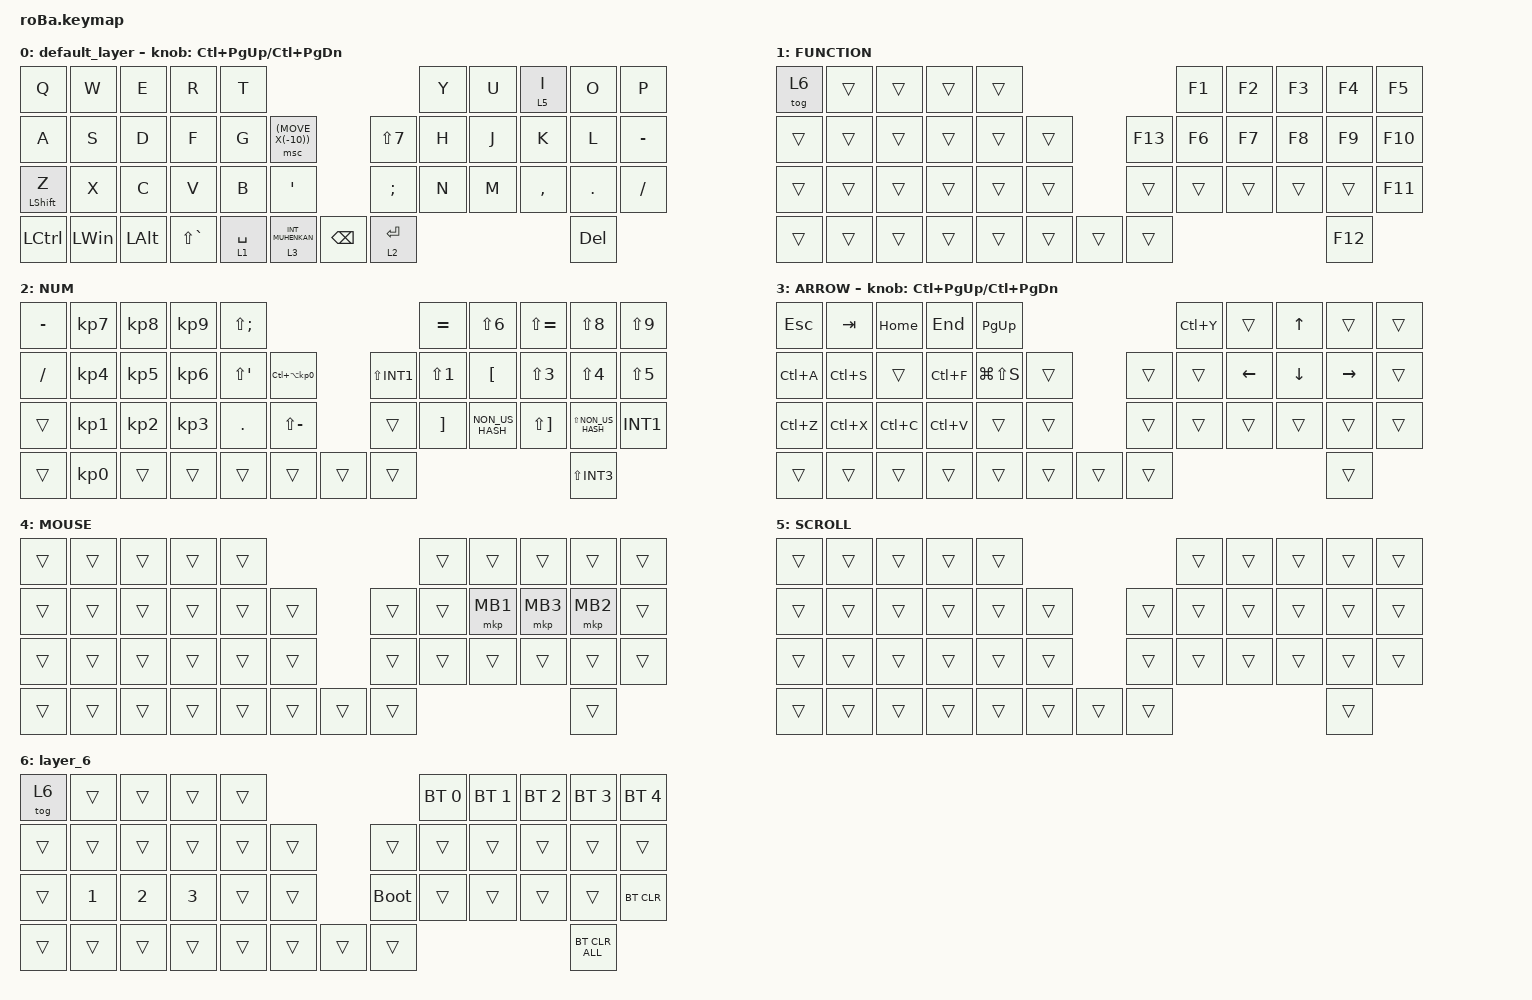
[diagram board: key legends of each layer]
#include <behaviors.dtsi>
#include <dt-bindings/zmk/bt.h>
#include <dt-bindings/zmk/keys.h>
#include <dt-bindings/zmk/pointing.h>

&mt {
    flavor = "balanced";
    quick-tap-ms = <0>;
};

&trackball {
    automouse-layer = <4>;
    scroll-layers = <5>;

    // arrows {
    //     layers = <3>;
    //     bindings =
    //         <&kp RIGHT_ARROW>,
    //         <&kp LEFT_ARROW>,
    //         <&kp UP_ARROW>,
    //         <&kp DOWN_ARROW>;
    //     tick = <10>;
    //     wait-ms = <5>;
    //     tap-ms = <5>;
    // };
};

/ {
    combos {
        compatible = "zmk,combos";

        tab {
            bindings = <&kp TAB>;
            key-positions = <11 12>;
        };

        shift_tab {
            bindings = <&kp LS(TAB)>;
            key-positions = <12 13>;
        };

        muhennkann {
            bindings = <&to_layer_0 INT_MUHENKAN>;
            key-positions = <11 10>;
        };

        double_quotation {
            bindings = <&kp LS(N2)>;
            key-positions = <20 21>;
        };

        eq {
            bindings = <&kp LS(MINUS)>;
            key-positions = <24 25>;
        };
    };

    macros {
        to_layer_0: to_layer_0 {
            compatible = "zmk,behavior-macro-one-param";
            #binding-cells = <1>;
            bindings = <&to 0 &macro_param_1to1 &kp MACRO_PLACEHOLDER>;
            label = "TO_LAYER_0";
        };
    };

    behaviors {
        lt_to_layer_0: lt_to_layer_0 {
            compatible = "zmk,behavior-hold-tap";
            label = "LAYER_TAP_TO_0";
            bindings = <&mo>, <&to_layer_0>;

            #binding-cells = <2>;
            tapping-term-ms = <200>;
        };
    };

    keymap {
        compatible = "zmk,keymap";

        default_layer {
            bindings = <
&kp Q             &kp W         &kp E         &kp R                         &kp T                                                          &kp Y        &kp U  &lt 5 I    &kp O    &kp P
&kp A             &kp S         &kp D         &kp F                         &kp G        &msc (MOVE_X(-10))                 &kp LS(N7)   &kp H        &kp J  &kp K      &kp L    &kp MINUS
&mt LEFT_SHIFT Z  &kp X         &kp C         &kp V                         &kp B        &kp SQT                           &kp SEMICOLON &kp N        &kp M  &kp COMMA  &kp DOT  &kp SLASH
&kp LCTRL         &kp LEFT_WIN  &kp LEFT_ALT  &kp LS(GRAVE)  &lt 1 SPACE  &lt_to_layer_0 3 INT_MUHENKAN      &kp BACKSPACE  &lt 2 ENTER                             &kp DEL
            >;

            sensor-bindings = <&inc_dec_kp LC(PAGE_UP) LC(PAGE_DOWN)>;
        };

        FUNCTION {
            bindings = <
&tog 6  &trans  &trans  &trans  &trans                       &kp F1  &kp F2  &kp F3  &kp F4  &kp F5
&trans  &trans  &trans  &trans  &trans  &trans      &kp F13  &kp F6  &kp F7  &kp F8  &kp F9  &kp F10
&trans  &trans  &trans  &trans  &trans  &trans      &trans   &trans  &trans  &trans  &trans  &kp F11
&trans  &trans  &trans  &trans  &trans  &trans      &trans   &trans                          &kp F12
            >;
        };

        NUM {
            bindings = <
&kp MINUS         &kp KP_NUMBER_7  &kp KP_NUMBER_8  &kp KP_NUMBER_9  &kp LS(SEMICOLON)                              &kp EQUAL       &kp LS(N6)       &kp LS(EQUAL)  &kp LS(N8)           &kp LS(N9)
&kp SLASH         &kp KP_NUMBER_4  &kp KP_NUMBER_5  &kp KP_NUMBER_6  &kp LS(SQT)  &kp LC(LA(KP_NUMBER_0))           &kp LS(INT1)    &kp LS(N1)       &kp LEFT_BRACKET  &kp LS(N3)          &kp LS(N4)             &kp LS(N5)
&trans            &kp KP_NUMBER_1  &kp KP_NUMBER_2  &kp KP_NUMBER_3  &kp PERIOD  &kp LS(MINUS)                      &trans          &kp RIGHT_BRACKET &kp NON_US_HASH &kp LS(RIGHT_BRACKET) &kp LS(NON_US_HASH) &kp INT1
&trans            &kp KP_NUMBER_0  &trans           &trans           &trans      &trans                            &trans          &trans                                                        &kp LS(INT3)
            >;
        };

        ARROW {
            bindings = <
&kp ESCAPE  &kp TAB       &kp HOME       &kp END        &kp PAGE_UP             &kp LC(Y)  &trans         &kp UP_ARROW  &trans          &trans
&kp LC(A)  &kp LC(S)  &trans  &kp LC(F)  &kp LG(LS(S))  &trans      &trans     &trans         &kp LEFT_ARROW &kp DOWN_ARROW  &kp RIGHT_ARROW &trans
&kp LC(Z)   &kp LC(X)    &kp LC(C)      &kp LC(V)      &trans     &trans      &trans     &trans         &trans         &trans         &trans          &trans
&trans      &trans       &trans         &trans         &trans     &trans      &trans     &trans                                       &trans
            >;

            sensor-bindings = <&inc_dec_kp LC(PAGE_UP) LC(PAGE_DOWN)>;
        };

        MOUSE {
            bindings = <
&trans  &trans  &trans  &trans  &trans                      &trans  &trans    &trans    &trans    &trans
&trans  &trans  &trans  &trans  &trans  &trans      &trans  &trans  &mkp MB1  &mkp MB3  &mkp MB2  &trans
&trans  &trans  &trans  &trans  &trans  &trans      &trans  &trans  &trans    &trans    &trans    &trans
&trans  &trans  &trans  &trans  &trans  &trans      &trans  &trans                                &trans
            >;
        };

        SCROLL {
            bindings = <
&trans  &trans  &trans  &trans  &trans                      &trans  &trans  &trans  &trans  &trans
&trans  &trans  &trans  &trans  &trans  &trans      &trans  &trans  &trans  &trans  &trans  &trans
&trans  &trans  &trans  &trans  &trans  &trans      &trans  &trans  &trans  &trans  &trans  &trans
&trans  &trans  &trans  &trans  &trans  &trans      &trans  &trans                          &trans
            >;
        };

        layer_6 {
            bindings = <
&tog 6  &trans        &trans        &trans        &trans                           &bt BT_SEL 0  &bt BT_SEL 1  &bt BT_SEL 2  &bt BT_SEL 3  &bt BT_SEL 4
&trans  &trans        &trans        &trans        &trans  &trans      &trans       &trans        &trans        &trans        &trans        &trans
&trans  &kp NUMBER_1  &kp NUMBER_2  &kp NUMBER_3  &trans  &trans      &bootloader  &trans        &trans        &trans        &trans        &bt BT_CLR
&trans  &trans        &trans        &trans        &trans  &trans      &trans       &trans                                                  &bt BT_CLR_ALL
            >;
        };
    };
};
